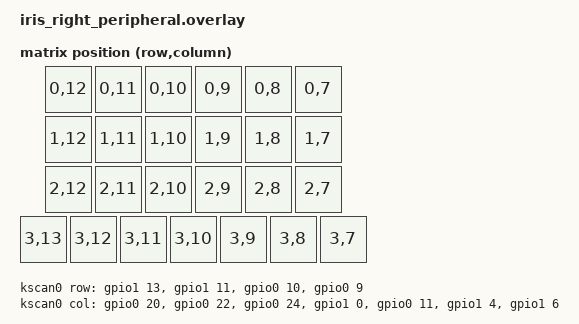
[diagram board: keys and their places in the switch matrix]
#include <dt-bindings/zmk/matrix_transform.h>
#include "iris.dtsi"

&default_transform {
	col-offset = <7>;
};

/ {
	chosen {
		zmk,kscan = &kscan0;
		zmk,matrix_transform = &right_transform;
	};


	right_transform: keymap_transform {
		compatible = "zmk,matrix-transform";
		rows = <4>;
		columns = <7>;
		map = <
					  		  RC(0,12) RC(0,11) RC(0,10) RC(0,9) RC(0,8) RC(0,7)
					  		  RC(1,12) RC(1,11) RC(1,10) RC(1,9) RC(1,8) RC(1,7)
					  		  RC(2,12) RC(2,11) RC(2,10) RC(2,9) RC(2,8) RC(2,7)
					  RC(3,13) RC(3,12) RC(3,11) RC(3,10) RC(3,9) RC(3,8) RC(3,7)
			  >;
	};

	kscan0: kscan {
		compatible = "zmk,kscan-gpio-matrix";
		diode-direction = "col2row";

		row-gpios =
				<&gpio1 13 (GPIO_ACTIVE_HIGH | GPIO_PULL_DOWN)>,
				<&gpio1 11 (GPIO_ACTIVE_HIGH | GPIO_PULL_DOWN)>,
				<&gpio0 10 (GPIO_ACTIVE_HIGH | GPIO_PULL_DOWN)>,
				<&gpio0 9 (GPIO_ACTIVE_HIGH | GPIO_PULL_DOWN)>;

		col-gpios =
				<&gpio0 20 GPIO_ACTIVE_HIGH>,
				<&gpio0 22 GPIO_ACTIVE_HIGH>,
				<&gpio0 24 GPIO_ACTIVE_HIGH>,
				<&gpio1 0 GPIO_ACTIVE_HIGH>,
				<&gpio0 11 GPIO_ACTIVE_HIGH>,
				<&gpio1 4 GPIO_ACTIVE_HIGH>,
				<&gpio1 6 GPIO_ACTIVE_HIGH>;
	};
};
